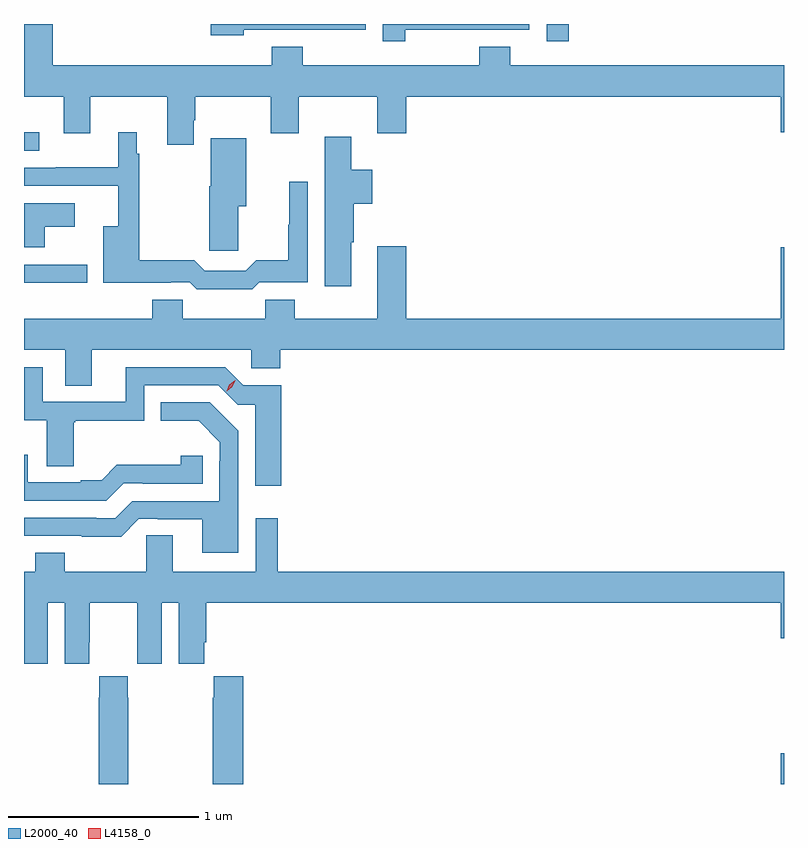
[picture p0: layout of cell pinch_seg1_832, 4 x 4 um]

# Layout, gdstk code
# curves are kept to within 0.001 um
import gdstk
lib = gdstk.Library(unit=1e-6, precision=1e-09)
def R(c, l, rs):  # rectangles x0, y0, x1, y1
    for r in rs: c.add(gdstk.rectangle(r[:2], r[2:], *l))
def P(c, l, *ps):  # polygons
    for p in ps: c.add(gdstk.Polygon(p, *l))
L2000_40 = (2000, 40)
L4158_0 = (4158, 0)

pinch_seg1_832 = lib.new_cell('pinch_seg1_832')
R(pinch_seg1_832, L2000_40, [(476.696,525.47,476.714,525.631), (472.714,528.107,473.047,528.204), (472.714,528.804,472.795,528.9), (475.464,529.38,475.58,529.47)])
P(pinch_seg1_832, L2000_40, [(473.871,529.44),(474.265,529.44),(474.265,529.439),(474.513,529.439),(474.513,529.47),(473.698,529.47),(473.698,529.412),(473.871,529.412)],
  [(473.608,528.964),(473.616,528.964),(473.616,529.088),(474.013,529.088),(474.013,528.894),(474.16,528.894),(474.16,529.088),(474.572,529.088),(474.572,528.894),(474.725,528.894),(474.725,529.088),(476.696,529.088),(476.696,528.9),(476.714,528.9),(476.714,529.252),(475.274,529.252),(475.274,529.351),(475.109,529.351),(475.109,529.252),(474.182,529.252),(474.182,529.351),(474.017,529.351),(474.017,529.252),(472.864,529.252),(472.864,529.47),(472.714,529.47),(472.714,529.088),(472.922,529.088),(472.922,528.894),(473.062,528.894),(473.062,529.088),(473.468,529.088),(473.468,528.834),(473.608,528.834)],
  [(474.721,529.439),(475.025,529.439),(475.025,529.44),(475.374,529.44),(475.374,529.47),(474.603,529.47),(474.603,529.38),(474.721,529.38)],
  [(473.952,528.111),(474.207,528.111),(474.207,528.64),(474.109,528.64),(474.109,528.414),(474.106,528.414),(474.106,528.227),(473.936,528.227),(473.88,528.171),(473.664,528.171),(473.609,528.227),(473.32,528.227),(473.32,528.788),(473.308,528.788),(473.308,528.901),(473.21,528.901),(473.21,528.715),(472.714,528.714),(472.714,528.618),(473.209,528.618),(473.209,528.406),(473.132,528.406),(473.132,528.107),(473.486,528.107),(473.486,528.111),(473.586,528.111),(473.623,528.075),(473.916,528.075)],
  [(474.436,528.321),(474.449,528.321),(474.449,528.524),(474.547,528.524),(474.547,528.702),(474.436,528.702),(474.436,528.877),(474.296,528.877),(474.296,528.09),(474.436,528.09)],
  [(473.842,528.512),(473.884,528.512),(473.884,528.868),(473.696,528.868),(473.696,528.616),(473.689,528.616),(473.689,528.276),(473.842,528.276)],
  [(472.822,528.404),(472.981,528.404),(472.981,528.526),(472.714,528.526),(472.714,528.296),(472.822,528.296)],
  [(473.071,527.756),(473.91,527.756),(473.91,527.658),(474.062,527.658),(474.062,527.756),(476.714,527.756),(476.714,528.295),(476.696,528.295),(476.696,527.92),(474.725,527.92),(474.725,528.301),(474.572,528.301),(474.572,527.92),(474.138,527.92),(474.138,528.018),(473.983,528.018),(473.983,527.92),(473.55,527.92),(473.55,528.018),(473.39,528.018),(473.39,527.92),(472.714,527.92),(472.714,527.756),(472.931,527.756),(472.931,527.566),(473.071,527.566)],
  [(474.068,527.568),(473.868,527.568),(473.772,527.664),(473.249,527.664),(473.249,527.481),(472.812,527.481),(472.812,527.664),(472.714,527.664),(472.714,527.568),(472.716,527.568),(472.716,527.384),(472.835,527.384),(472.835,527.143),(472.975,527.143),(472.975,527.373),(472.983,527.373),(472.983,527.383),(473.346,527.383),(473.346,527.568),(473.736,527.568),(473.838,527.466),(473.93,527.466),(473.93,527.04),(474.068,527.04)],
  [(473.842,527.328),(473.692,527.478),(473.433,527.478),(473.433,527.381),(473.633,527.381),(473.745,527.268),(473.745,527.168),(473.741,527.168),(473.741,526.959),(473.283,526.959),(473.193,526.869),(473.093,526.869),(473.093,526.872),(472.714,526.872),(472.714,526.776),(473.017,526.776),(473.017,526.772),(473.225,526.772),(473.319,526.866),(473.419,526.866),(473.419,526.863),(473.651,526.863),(473.651,526.688),(473.842,526.688)],
  [(473.238,527.052),(473.338,527.052),(473.338,527.049),(473.656,527.049),(473.656,527.197),(473.54,527.197),(473.54,527.15),(473.202,527.15),(473.122,527.07),(473.012,527.07),(473.012,527.058),(472.735,527.058),(472.735,527.203),(472.714,527.203),(472.714,526.962),(473.148,526.962)],
  [(472.774,526.588),(472.714,526.588),(472.714,526.104),(472.84,526.104),(472.84,526.424),(472.928,526.424),(472.928,526.104),(473.058,526.104),(473.058,526.216),(473.059,526.216),(473.059,526.424),(473.309,526.424),(473.309,526.216),(473.31,526.216),(473.31,526.104),(473.44,526.104),(473.44,526.424),(473.528,526.424),(473.528,526.104),(473.662,526.104),(473.662,526.216),(473.672,526.216),(473.672,526.424),(476.696,526.424),(476.696,526.236),(476.714,526.236),(476.714,526.588),(474.05,526.588),(474.05,526.87),(473.934,526.87),(473.934,526.588),(473.497,526.588),(473.497,526.778),(473.358,526.778),(473.358,526.588),(472.929,526.588),(472.929,526.687),(472.774,526.687)],
  [(473.262,525.923),(473.259,525.923),(473.259,526.036),(473.109,526.036),(473.109,525.923),(473.107,525.923),(473.107,525.47),(473.262,525.47)],
  [(473.867,526.036),(473.713,526.036),(473.713,525.923),(473.707,525.923),(473.707,525.47),(473.867,525.47)])
P(pinch_seg1_832, L4158_0, [(473.78,527.538),(473.78,527.538),(473.795,527.572),(473.825,527.595),(473.825,527.595),(473.825,527.594),(473.81,527.56),(473.781,527.538)])

lib.write_gds('pinch_seg1_832.gds')
